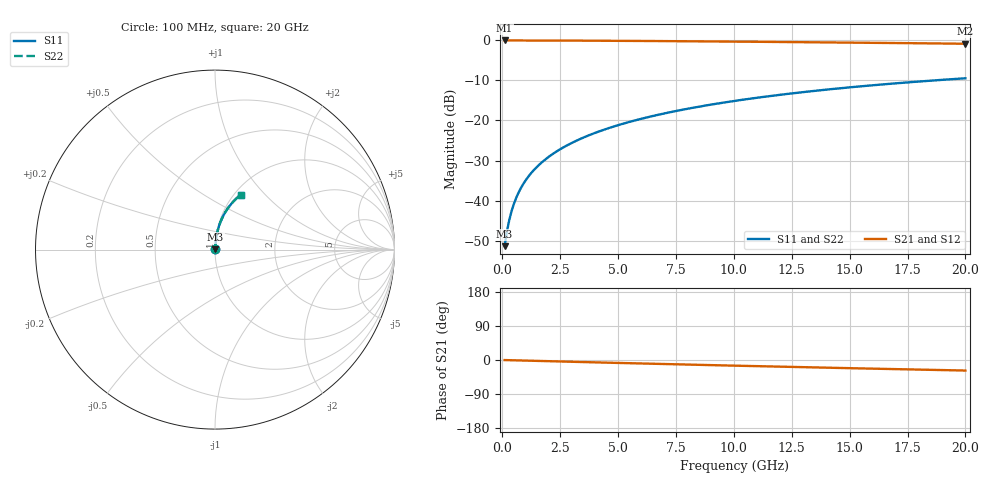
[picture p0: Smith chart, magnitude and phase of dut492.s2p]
! Touchstone file exported from HFSS 2024.1.0
!  File:  C:/UserFiles/LocalFiles/RDL_TSV_Batchsim/temp_RDL_bottom_492_1779686877.aedt
!  Generated:  01:30:40 PM May 25, 2026
!  Design:  RDL_bottom
!  Project:  temp_RDL_bottom_492_1779686877
!  Setup:  Setup1
!  Solution:  Sweep
! Variables:
!  dtsv = 10.80580581um
!  hbump = 3um
!  htsv = 87.5um
!  ldown = 321.87um
!  lrdl = 100um
!  p = 40
!  p1 = 55.12um
!  rhole = 1um
!  t = 450um
!  tdown = 4.2um
!  trdl = 3.915915916um
!  wdown = 14.45um
!  wrdl = 20um
# GHz S MA R 50.000000
! Terminal data exported
! Port[1] = RDL1_T1
! Port[2] = RDL1_T2
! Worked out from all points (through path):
!   200 points, 100 MHz to 20 GHz, reference 50 ohm
!   highest |S21| = -0.02 dB at 100 MHz (marker M1); lowest = -0.8 dB at 20 GHz (marker M2)
!   group delay of S21, straight-line fit = 3.85 ps
!   lowest |S11| = -51.4 dB at 100 MHz (marker M3), VSWR 1.01, Z = 50.2 + j0.182 ohm
!   |S11| at or under -10 dB: start of sweep to 18.63 GHz
!   |S22| runs from -51.4 to -9.5 dB; largest |S21 - S12| = 4.2e-15
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0.1  0.002699 42.1  0.998 -0.2  0.998 -0.2  0.002699 42.1
! Gamma 0 0 0 0
! Port Impedance 50 0 50 0
0.2  0.004092 60.8  0.9979 -0.3  0.9979 -0.3  0.004093 60.8
0.3  0.0057 69.3  0.9979 -0.5  0.9979 -0.5  0.005702 69.3
0.4  0.007381 73.9  0.9978 -0.6  0.9978 -0.6  0.007383 73.9
0.5  0.009093 76.7  0.9977 -0.8  0.9977 -0.8  0.009095 76.7
0.6  0.01082 78.5  0.9976 -1.0  0.9976 -1.0  0.01082 78.5
0.8  0.01429 80.8  0.9975 -1.3  0.9975 -1.3  0.01429 80.8
1.1  0.0195 82.5  0.9972 -1.7  0.9972 -1.7  0.0195 82.5
1.5  0.02644 83.6  0.9967 -2.4  0.9967 -2.4  0.02644 83.6
1.8  0.03164 84.0  0.9963 -2.8  0.9963 -2.8  0.03164 84.0
2.1  0.03684 84.2  0.9957 -3.3  0.9957 -3.3  0.03684 84.2
2.7  0.04726 84.3  0.9945 -4.2  0.9945 -4.2  0.04726 84.3
3.5  0.06119 84.0  0.9925 -5.5  0.9925 -5.5  0.06119 84.0
4.2  0.07342 83.6  0.9904 -6.5  0.9904 -6.5  0.07342 83.6
5  0.08743 83.0  0.9877 -7.7  0.9877 -7.7  0.08743 83.0
5.9  0.1032 82.1  0.9843 -9.1  0.9843 -9.1  0.1032 82.1
6.8  0.119 81.2  0.9806 -10.4  0.9806 -10.4  0.119 81.2
8.3  0.1454 79.6  0.9739 -12.5  0.9739 -12.5  0.1454 79.6
10.1  0.1768 77.4  0.9651 -15.0  0.9651 -15.0  0.1768 77.4
13.4  0.2329 73.3  0.9475 -19.5  0.9475 -19.5  0.2329 73.3
16.7  0.2865 69.1  0.9284 -23.7  0.9284 -23.7  0.2865 69.1
20  0.3366 65.0  0.9081 -27.8  0.9081 -27.8  0.3366 65.0
